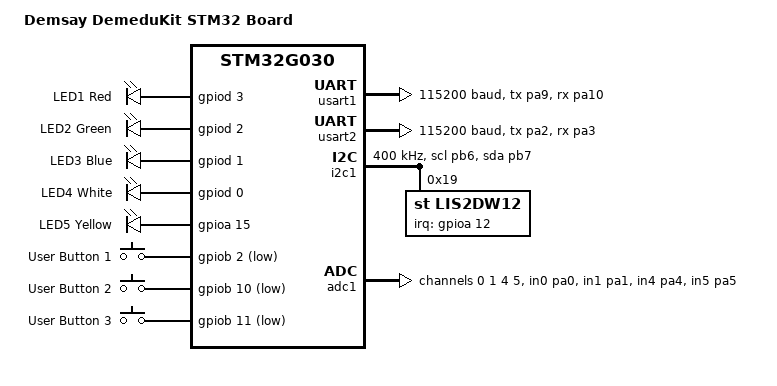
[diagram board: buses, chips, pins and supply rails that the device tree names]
/dts-v1/;

#include <st/g0/stm32g030.dtsi>
#include <zephyr/dt-bindings/input/input-event-codes.h>
#include <dt-bindings/pinctrl/stm32-pinctrl.h>

/ {
model = "Demsay DemeduKit STM32 Board";
compatible = "demsay,demedukit-stm32";

chosen {
zephyr,console = &usart1;
zephyr,shell-uart = &usart1;
zephyr,sram = &sram0;
zephyr,flash = &flash0;
};

aliases {
uart-pc = &usart1;
uart-mcu = &usart2;
i2c-bus = &i2c1;
led0 = &led_red;
led1 = &led_green;
led2 = &led_blue;
led3 = &led_white;
led4 = &led_yellow;
sw0 = &button1;
sw1 = &button2;
sw2 = &button3;
accel0 = &lis2dw12;
};

leds {
compatible = "gpio-leds";
led_red: led_pd3 {
gpios = <&gpiod 3 GPIO_ACTIVE_HIGH>;
label = "LED1 Red";
};
led_green: led_pd2 {
gpios = <&gpiod 2 GPIO_ACTIVE_HIGH>;
label = "LED2 Green";
};
led_blue: led_pd1 {
gpios = <&gpiod 1 GPIO_ACTIVE_HIGH>;
label = "LED3 Blue";
};
led_white: led_pd0 {
gpios = <&gpiod 0 GPIO_ACTIVE_HIGH>;
label = "LED4 White";
};
led_yellow: led_pa15 {
gpios = <&gpioa 15 GPIO_ACTIVE_HIGH>;
label = "LED5 Yellow";
};
};

gpio_keys {
compatible = "gpio-keys";
button1: button_1 {
label = "User Button 1";
gpios = <&gpiob 2 (GPIO_ACTIVE_LOW | GPIO_PULL_UP)>;
zephyr,code = <INPUT_KEY_0>;
};
button2: button_2 {
label = "User Button 2";
gpios = <&gpiob 10 (GPIO_ACTIVE_LOW | GPIO_PULL_UP)>;
zephyr,code = <INPUT_KEY_1>;
};
button3: button_3 {
label = "User Button 3";
gpios = <&gpiob 11 (GPIO_ACTIVE_LOW | GPIO_PULL_UP)>;
zephyr,code = <INPUT_KEY_2>;
};
};
};

&clk_hsi {
status = "okay";
};

&pll {
div-m = <1>;
mul-n = <8>;
div-p = <2>;
div-r = <2>;
clocks = <&clk_hsi>;
status = "okay";
};

&rcc {
clocks = <&pll>;
clock-frequency = <64000000>;
ahb-prescaler = <1>;
apb1-prescaler = <1>;
};

&pinctrl {
usart1_tx_pa9: usart1_tx_pa9 {
pinmux = <STM32_PINMUX('A', 9, AF1)>;
bias-pull-up;
};
usart1_rx_pa10: usart1_rx_pa10 {
pinmux = <STM32_PINMUX('A', 10, AF1)>;
};
usart2_tx_pa2: usart2_tx_pa2 {
pinmux = <STM32_PINMUX('A', 2, AF1)>;
bias-pull-up;
};
usart2_rx_pa3: usart2_rx_pa3 {
pinmux = <STM32_PINMUX('A', 3, AF1)>;
};
i2c1_scl_pb6: i2c1_scl_pb6 {
pinmux = <STM32_PINMUX('B', 6, AF6)>;
bias-pull-up;
drive-open-drain;
};
i2c1_sda_pb7: i2c1_sda_pb7 {
pinmux = <STM32_PINMUX('B', 7, AF6)>;
bias-pull-up;
drive-open-drain;
};
adc1_in0_pa0: adc1_in0_pa0 {
pinmux = <STM32_PINMUX('A', 0, ANALOG)>;
};
adc1_in1_pa1: adc1_in1_pa1 {
pinmux = <STM32_PINMUX('A', 1, ANALOG)>;
};
adc1_in4_pa4: adc1_in4_pa4 {
pinmux = <STM32_PINMUX('A', 4, ANALOG)>;
};
adc1_in5_pa5: adc1_in5_pa5 {
pinmux = <STM32_PINMUX('A', 5, ANALOG)>;
};
};

&usart1 {
pinctrl-0 = <&usart1_tx_pa9 &usart1_rx_pa10>;
pinctrl-names = "default";
current-speed = <115200>;
status = "okay";
};

&usart2 {
pinctrl-0 = <&usart2_tx_pa2 &usart2_rx_pa3>;
pinctrl-names = "default";
current-speed = <115200>;
status = "okay";
};

&i2c1 {
pinctrl-0 = <&i2c1_scl_pb6 &i2c1_sda_pb7>;
pinctrl-names = "default";
status = "okay";
clock-frequency = <I2C_BITRATE_FAST>;
lis2dw12: lis2dw12@19 {
compatible = "st,lis2dw12";
reg = <0x19>;
irq-gpios = <&gpioa 12 GPIO_ACTIVE_HIGH>;
};
};

&adc1 {
pinctrl-0 = <&adc1_in0_pa0 &adc1_in1_pa1 &adc1_in4_pa4 &adc1_in5_pa5>;
pinctrl-names = "default";
status = "okay";
st,adc-clock-source = "SYNC";
st,adc-prescaler = <4>;
vref-mv = <3300>;
#address-cells = <1>;
#size-cells = <0>;
channel@0 {
reg = <0>;
zephyr,gain = "ADC_GAIN_1";
zephyr,reference = "ADC_REF_INTERNAL";
zephyr,acquisition-time = <ADC_ACQ_TIME_DEFAULT>;
zephyr,resolution = <12>;
};
channel@1 { reg = <1>; zephyr,gain = "ADC_GAIN_1"; zephyr,reference = "ADC_REF_INTERNAL"; zephyr,acquisition-time = <ADC_ACQ_TIME_DEFAULT>; zephyr,resolution = <12>; };
channel@4 { reg = <4>; zephyr,gain = "ADC_GAIN_1"; zephyr,reference = "ADC_REF_INTERNAL"; zephyr,acquisition-time = <ADC_ACQ_TIME_DEFAULT>; zephyr,resolution = <12>; };
channel@5 { reg = <5>; zephyr,gain = "ADC_GAIN_1"; zephyr,reference = "ADC_REF_INTERNAL"; zephyr,acquisition-time = <ADC_ACQ_TIME_DEFAULT>; zephyr,resolution = <12>; };
};

&flash0 {
reg = <0x08000000 DT_SIZE_K(64)>;
};

&sram0 {
reg = <0x20000000 DT_SIZE_K(8)>;
};
